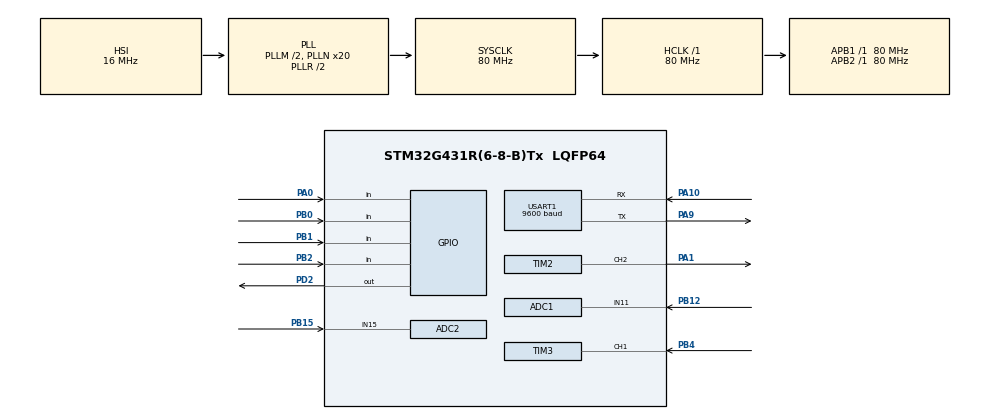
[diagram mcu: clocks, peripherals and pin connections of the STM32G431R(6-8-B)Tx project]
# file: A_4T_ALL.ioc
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ADC1.Channel-0\#ChannelRegularConversion=ADC_CHANNEL_11
ADC1.ClockPrescaler=ADC_CLOCK_ASYNC_DIV2
ADC1.NbrOfConversionFlag=1
ADC1.OffsetNumber-0\#ChannelRegularConversion=ADC_OFFSET_NONE
ADC1.Rank-0\#ChannelRegularConversion=1
ADC1.SamplingTime-0\#ChannelRegularConversion=ADC_SAMPLETIME_640CYCLES_5
ADC1.master=1
ADC2.Channel-0\#ChannelRegularConversion=ADC_CHANNEL_15
ADC2.ClockPrescaler=ADC_CLOCK_ASYNC_DIV2
ADC2.NbrOfConversionFlag=1
ADC2.OffsetNumber-0\#ChannelRegularConversion=ADC_OFFSET_NONE
ADC2.Rank-0\#ChannelRegularConversion=1
ADC2.SamplingTime-0\#ChannelRegularConversion=ADC_SAMPLETIME_640CYCLES_5
Mcu.Family=STM32G4
Mcu.Name=STM32G431R(6-8-B)Tx
Mcu.Package=LQFP64
NVIC.ADC1_2_IRQn=true\:0\:0\:false\:false\:true\:true\:true\:true
NVIC.PriorityGroup=NVIC_PRIORITYGROUP_4
NVIC.TIM3_IRQn=true\:0\:0\:false\:false\:true\:true\:true\:true
NVIC.TIM6_DAC_IRQn=true\:0\:0\:false\:false\:true\:true\:true\:true
NVIC.USART1_IRQn=true\:0\:0\:false\:false\:true\:true\:true\:true
PA0.Signal=GPIO_Input
PA1.Signal=S_TIM2_CH2
PA10.Mode=Asynchronous
PA10.Signal=USART1_RX
PA13.Mode=Serial_Wire
PA13.Signal=SYS_JTMS-SWDIO
PA14.Mode=Serial_Wire
PA14.Signal=SYS_JTCK-SWCLK
PA7.Signal=S_TIM3_CH2
PA9.Mode=Asynchronous
PA9.Signal=USART1_TX
PB0.Signal=GPIO_Input
PB1.Signal=GPIO_Input
PB12.Mode=IN11-Single-Ended
PB12.Signal=ADC1_IN11
PB15.Mode=IN15-Single-Ended
PB15.Signal=ADC2_IN15
PB2.Signal=GPIO_Input
PB4.Signal=S_TIM3_CH1
PD2.Signal=GPIO_Output
PF0-OSC_IN.Mode=HSE-External-Oscillator
PF0-OSC_IN.Signal=RCC_OSC_IN
PF1-OSC_OUT.Mode=HSE-External-Oscillator
PF1-OSC_OUT.Signal=RCC_OSC_OUT
ProjectManager.HeapSize=0x200
ProjectManager.StackSize=0x400
ProjectManager.TargetToolchain=MDK-ARM V5.32
RCC.ADC12Freq_Value=80000000
RCC.AHBFreq_Value=80000000
RCC.APB1Freq_Value=80000000
RCC.APB1TimFreq_Value=80000000
RCC.APB2Freq_Value=80000000
RCC.APB2TimFreq_Value=80000000
RCC.CortexFreq_Value=80000000
RCC.EXTERNAL_CLOCK_VALUE=12288000
RCC.HCLKFreq_Value=80000000
RCC.HSE_VALUE=24000000
RCC.HSI48_VALUE=48000000
RCC.HSI_VALUE=16000000
RCC.LSE_VALUE=32768
RCC.PLLM=RCC_PLLM_DIV2
RCC.PLLN=20
RCC.RTCClockSelection=RCC_RTCCLKSOURCE_HSE_DIV32
RCC.SYSCLKFreq_VALUE=80000000
RCC.SYSCLKSource=RCC_SYSCLKSOURCE_PLLCLK
RCC.USBFreq_Value=80000000
RCC.VCOOutputFreq_Value=160000000
RTC.AsynchPrediv=125
RTC.Date=12
RTC.Hours=18
RTC.Minutes=47
RTC.Month=RTC_MONTH_APRIL
RTC.Seconds=4
RTC.SynchPrediv=6000
RTC.WeekDay=RTC_WEEKDAY_FRIDAY
RTC.Year=24
SH.S_TIM2_CH2.0=TIM2_CH2,PWM Generation2 CH2
SH.S_TIM3_CH1.0=TIM3_CH1,Input_Capture1_from_TI1
SH.S_TIM3_CH2.0=TIM3_CH2
TIM2.AutoReloadPreload=TIM_AUTORELOAD_PRELOAD_ENABLE
TIM2.Channel-PWM\ Generation2\ CH2=TIM_CHANNEL_2
TIM2.CounterMode=TIM_COUNTERMODE_UP
TIM2.PeriodNoDither=500-1
TIM2.Prescaler=79
TIM2.PulseNoDither_2=100
TIM3.AutoReloadPreload=TIM_AUTORELOAD_PRELOAD_ENABLE
TIM3.Channel-Input_Capture1_from_TI1=TIM_CHANNEL_1
TIM3.Channel-Input_Capture2_from_TI1_63=TIM_CHANNEL_2
TIM3.ICPolarity_CH1=TIM_INPUTCHANNELPOLARITY_RISING
TIM3.ICPolarity_CH2=TIM_INPUTCHANNELPOLARITY_FALLING
TIM3.Prescaler=80-1
TIM6.PeriodNoDither=10000-1
TIM6.Prescaler=8000-1
USART1.BaudRate=9600
USART1.VirtualMode-Asynchronous=VM_ASYNC
VP_RTC_VS_RTC_Activate.Mode=RTC_Enabled
VP_RTC_VS_RTC_Calendar.Mode=RTC_Calendar
VP_SYS_VS_DBSignals.Mode=DisableDeadBatterySignals
VP_TIM2_VS_ClockSourceINT.Mode=Internal
VP_TIM3_VS_ClockSourceINT.Mode=Internal
VP_TIM3_VS_indirect_ch1.Mode=Input_Capture2_from_TI1_63
VP_TIM6_VS_ClockSourceINT.Mode=Enable_Timer
board=custom

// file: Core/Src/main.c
/* USER CODE BEGIN Header */
/**
  ******************************************************************************
  * @file           : main.c
  * @brief          : Main program body
  ******************************************************************************
  * @attention
  *
  * Copyright (c) 2024 STMicroelectronics.
  * All rights reserved.
  *
  * This software is licensed under terms that can be found in the LICENSE file
  * in the root directory of this software component.
  * If no LICENSE file comes with this software, it is provided AS-IS.
  *
  ******************************************************************************
  */
/* USER CODE END Header */
#include "main.h"
#include "adc.h"
#include "rtc.h"
#include "tim.h"
#include "usart.h"
#include "gpio.h"

/* USER CODE BEGIN Includes */
#include "stdio.h"
#include "string.h"
#include "led.h"
#include "lcd.h"
#include "key.h"
#include "i2c_hal.h"

/* USER CODE END Includes */

/* USER CODE BEGIN PV */

__IO uint32_t lcd_uwtick;
__IO uint32_t key_uwtick;

uint8_t lcd_str[22];
uint8_t key_val,key_up,key_down,key_old;
char uart_str[50];
uint8_t rx_buffer;

//EEPROM
uint8_t EEPROM_1[3] = {0,1,2};

uint8_t EEPROM_2[3] = {0};

uint8_t MCP4017;

RTC_TimeTypeDef time;
RTC_DateTypeDef date;

uint16_t adc1,adc2;

int i=0;

int PA7_up,PA7_down;
float duty;

/* USER CODE END PV */

void SystemClock_Config(void);
/* USER CODE BEGIN PFP */

void lcd_proc(void);
void key_proc(void);
uint16_t get_adc1(void);
uint16_t get_adc2(void);

/* USER CODE END PFP */

int main(void)
{

  /* MCU Configuration--------------------------------------------------------*/

  /* Reset of all peripherals, Initializes the Flash interface and the Systick. */
  HAL_Init();

  /* Configure the system clock */
  SystemClock_Config();

  /* Initialize all configured peripherals */
  MX_GPIO_Init();
  MX_USART1_UART_Init();
  MX_RTC_Init();
  MX_ADC1_Init();
  MX_ADC2_Init();
  MX_TIM6_Init();
  MX_TIM2_Init();
  MX_TIM3_Init();
  /* USER CODE BEGIN 2 */

  led_disp(0x00);

  LCD_Init();
  LCD_Clear(Black);
  LCD_SetBackColor(Black);
  LCD_SetTextColor(White);

  HAL_UART_Receive_IT(&huart1,&rx_buffer,1);

  I2CInit();

  //EEPROM����
  iic_write(EEPROM_1,0,3);
  HAL_Delay(10);
  iic_read(EEPROM_2,0,3);
//  iic_read(EEPROM_2,0,1);
//  EEPROM_2[0]++;
//  iic_write(EEPROM_2,0,1);

  //MCP_4017����
  mcp_write(0x0D);
  MCP4017=mcp_read();

  //TIM6 ��ʱ������
  HAL_TIM_Base_Start_IT(&htim6);
  HAL_TIM_Base_Start_IT(&htim3);

  HAL_TIM_PWM_Start(&htim2,TIM_CHANNEL_2);
  HAL_TIM_IC_Start_IT(&htim3,TIM_CHANNEL_1);
  HAL_TIM_IC_Start_IT(&htim3,TIM_CHANNEL_2);
  __HAL_TIM_SET_AUTORELOAD(&htim2,250-1);
  __HAL_TIM_SET_COMPARE(&htim2,TIM_CHANNEL_2,25);

  /* USER CODE END 2 */

  /* Infinite loop */
  /* USER CODE BEGIN WHILE */
  while (1)
  {
	  lcd_proc();
	  key_proc();
	  //led����
//	  led_disp(0x23);
//	  HAL_Delay(500);
//	  led_disp(0x00);
//	  HAL_Delay(500);
//	    __HAL_TIM_SET_AUTORELOAD(&htim2,250-1);
//		__HAL_TIM_SET_COMPARE(&htim2,TIM_CHANNEL_2,25);
//
//	  HAL_Delay(2000);
//
//	    __HAL_TIM_SET_AUTORELOAD(&htim2,500-1);
//		__HAL_TIM_SET_COMPARE(&htim2,TIM_CHANNEL_2,250);
//	  HAL_Delay(2000);

	  	HAL_RTC_GetTime(&hrtc,&time,RTC_FORMAT_BIN);
		HAL_RTC_GetDate(&hrtc,&date,RTC_FORMAT_BIN);

    /* USER CODE END WHILE */

  }
}

void SystemClock_Config(void)
{
  RCC_OscInitTypeDef RCC_OscInitStruct = {0};
  RCC_ClkInitTypeDef RCC_ClkInitStruct = {0};

  /** Configure the main internal regulator output voltage
  */
  HAL_PWREx_ControlVoltageScaling(PWR_REGULATOR_VOLTAGE_SCALE1);

  /** Initializes the RCC Oscillators according to the specified parameters
  * in the RCC_OscInitTypeDef structure.
  */
  RCC_OscInitStruct.OscillatorType = RCC_OSCILLATORTYPE_HSI|RCC_OSCILLATORTYPE_HSE;
  RCC_OscInitStruct.HSEState = RCC_HSE_ON;
  RCC_OscInitStruct.HSIState = RCC_HSI_ON;
  RCC_OscInitStruct.HSICalibrationValue = RCC_HSICALIBRATION_DEFAULT;
  RCC_OscInitStruct.PLL.PLLState = RCC_PLL_ON;
  RCC_OscInitStruct.PLL.PLLSource = RCC_PLLSOURCE_HSI;
  RCC_OscInitStruct.PLL.PLLM = RCC_PLLM_DIV2;
  RCC_OscInitStruct.PLL.PLLN = 20;
  RCC_OscInitStruct.PLL.PLLP = RCC_PLLP_DIV2;
  RCC_OscInitStruct.PLL.PLLQ = RCC_PLLQ_DIV2;
  RCC_OscInitStruct.PLL.PLLR = RCC_PLLR_DIV2;
  if (HAL_RCC_OscConfig(&RCC_OscInitStruct) != HAL_OK)
  {
    Error_Handler();
  }

  /** Initializes the CPU, AHB and APB buses clocks
  */
  RCC_ClkInitStruct.ClockType = RCC_CLOCKTYPE_HCLK|RCC_CLOCKTYPE_SYSCLK
                              |RCC_CLOCKTYPE_PCLK1|RCC_CLOCKTYPE_PCLK2;
  RCC_ClkInitStruct.SYSCLKSource = RCC_SYSCLKSOURCE_PLLCLK;
  RCC_ClkInitStruct.AHBCLKDivider = RCC_SYSCLK_DIV1;
  RCC_ClkInitStruct.APB1CLKDivider = RCC_HCLK_DIV1;
  RCC_ClkInitStruct.APB2CLKDivider = RCC_HCLK_DIV1;

  if (HAL_RCC_ClockConfig(&RCC_ClkInitStruct, FLASH_LATENCY_2) != HAL_OK)
  {
    Error_Handler();
  }
}

/* USER CODE BEGIN 4 */

void HAL_TIM_IC_CaptureCallback(TIM_HandleTypeDef *htim)
{
	if(htim->Instance==TIM3)
	{
		if(htim->Channel==HAL_TIM_ACTIVE_CHANNEL_1)
		{
			PA7_up=HAL_TIM_ReadCapturedValue(&htim3,TIM_CHANNEL_1)+1;

			duty = (float)PA7_down/PA7_up;
			__HAL_TIM_SetCounter(&htim3,0);

			  HAL_TIM_IC_Start_IT(&htim3,TIM_CHANNEL_1);

		}
		else if(htim->Channel==HAL_TIM_ACTIVE_CHANNEL_2)
		{
			PA7_down=HAL_TIM_ReadCapturedValue(&htim3,TIM_CHANNEL_2)+1;
//			__HAL_TIM_SetCounter(&htim3,0);
//			HAL_TIM_IC_Start_IT(&htim3,TIM_CHANNEL_2);
		}

	}
}

void HAL_TIM_PeriodElapsedCallback(TIM_HandleTypeDef *htim)
{
	if(htim->Instance==TIM6)
	{
		i++;
		HAL_TIM_Base_Start_IT(&htim6);
	}
}
uint16_t get_adc1(void)
{
	uint16_t adc;
	HAL_ADC_Start(&hadc1);
	adc = HAL_ADC_GetValue(&hadc1);
	return adc;
//	HAL_ADC_Start(&hadc2);
//	adc2 = HAL_ADC_GetValue(&hadc2);
}

uint16_t get_adc2(void)
{
	uint16_t adc;
	HAL_ADC_Start(&hadc2);
	adc = HAL_ADC_GetValue(&hadc2);
	return adc;
}

void HAL_UART_RxCpltCallback(UART_HandleTypeDef *huart)
{
	if(rx_buffer=='a')
		sprintf(uart_str,"success receive a\r\n");
	else
		sprintf(uart_str,"error receive a\r\n");
	HAL_UART_Transmit(&huart1,(uint8_t*)uart_str,strlen(uart_str),50);
	HAL_UART_Receive_IT(&huart1,&rx_buffer,1);
}

void lcd_proc(void)
{
	if(uwTick-lcd_uwtick<100)return;
	lcd_uwtick = uwTick;

//	sprintf((char*)lcd_str,"E1:%x,%x,%x    E2:%x,%x,%x",EEPROM_1[0],EEPROM_1[1],EEPROM_1[2],EEPROM_2[0],EEPROM_2[1],EEPROM_2[2]);
//	LCD_DisplayStringLine(Line0,lcd_str);
//	sprintf((char*)lcd_str,"MCP4017:%.2fK,%.2fV",0.7874*MCP4017,3.3*(0.7874*MCP4017/(0.7874*MCP4017+10)));
//	LCD_DisplayStringLine(Line1,lcd_str);
//	sprintf((char*)lcd_str,"%02d-%02d-%02d    %02d:%02d:%02d",date.Year,date.Month,date.Date,time.Hours,time.Minutes,time.Seconds);
//	LCD_DisplayStringLine(Line2,lcd_str);
//	sprintf((char*)lcd_str,"R37:%.2f    R38:%.2f",3.3*get_adc2()/4096,3.3*get_adc1()/4096);
//	LCD_DisplayStringLine(Line3,lcd_str);
//
//	sprintf((char*)lcd_str,"TIM6:%d",i);
//	LCD_DisplayStringLine(Line4,lcd_str);
//
//	sprintf((char*)lcd_str,"PA7:%d,%d,%5.2f",1000000/PA7_up,1000000/PA7_down,duty*100);
//	LCD_DisplayStringLine(Line5,lcd_str);

	sprintf((char*)lcd_str,"        DATA      ");
	LCD_DisplayStringLine(Line3,lcd_str);
	sprintf((char*)lcd_str,"     PR39:%dHz   ", 1000000/PA7_up);
	LCD_DisplayStringLine(Line4,lcd_str);
}
void key_proc(void)
{
	if(uwTick-key_uwtick<50)return;
	key_uwtick = uwTick;

	key_val = key_scan();
	key_down = key_val&(key_old^key_val);
	key_up = ~key_val&(key_old^key_val);
	key_old = key_val;

	//key����
//	if(key_down)
//	{
//		sprintf((char*)lcd_str,"hello:%d    ",key_val);
//		LCD_DisplayStringLine(Line1,lcd_str);
//	}

	if(key_down==1)
	{
	    __HAL_TIM_SET_AUTORELOAD(&htim2,125-1);
		__HAL_TIM_SET_COMPARE(&htim2,TIM_CHANNEL_2,25);
	}
	else if(key_down==2)
	{
	    __HAL_TIM_SET_AUTORELOAD(&htim2,250-1);
		__HAL_TIM_SET_COMPARE(&htim2,TIM_CHANNEL_2,25);
	}

}
/* USER CODE END 4 */

void Error_Handler(void)
{
  __disable_irq();
  while (1)
  {
  }
}
